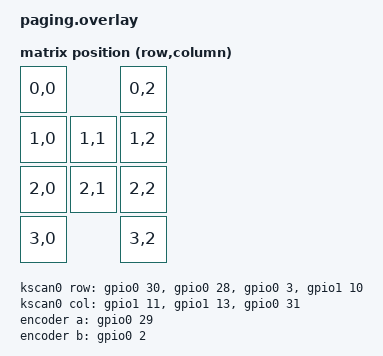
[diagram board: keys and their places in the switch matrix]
#include <dt-bindings/zmk/matrix_transform.h>
#include <dt-bindings/led/led.h>
#include "paging-layouts.dtsi"
#include "paging.dtsi"



&physical_layout0 {
    transform = <&default_transform>;
};

/ {
    chosen {
        zmk,kscan = &kscan0;
        zmk,physical-layout = &physical_layout0;
		zmk,underglow = &led_strip;
        //zmk,backlight = &backlight;
        zephyr,display = &oled;
        zmk,battery = &vbatt;
    };

    vbatt: vbatt {
        compatible = "zmk,battery-voltage-divider";
        label = "VBATT";
        io-channels = <&adc 2>; // 根据实际ADC通道调整
        output-ohms = <2000000>;
        full-ohms = <(2000000 + 806000)>;
    };

    kscan0: kscan {
        compatible = "zmk,kscan-gpio-matrix";
        wakeup-source;

        diode-direction = "col2row";
        row-gpios
            = <&gpio0 30 (GPIO_ACTIVE_HIGH | GPIO_PULL_DOWN)>,
              <&gpio0 28 (GPIO_ACTIVE_HIGH | GPIO_PULL_DOWN)>,
              <&gpio0 3  (GPIO_ACTIVE_HIGH | GPIO_PULL_DOWN)>,
              <&gpio1 10 (GPIO_ACTIVE_HIGH | GPIO_PULL_DOWN)>;
        col-gpios
            = <&gpio1 11 GPIO_ACTIVE_HIGH>,
              <&gpio1 13 GPIO_ACTIVE_HIGH>,
              <&gpio0 31 GPIO_ACTIVE_HIGH>;
    };

    default_transform: matrix_transform {
        compatible = "zmk,matrix-transform";
        rows = <4>;
        columns = <3>;
        map = <
	        RC(0,0)         RC(0,2) 
	        RC(1,0) RC(1,1) RC(1,2) 
	        RC(2,0) RC(2,1) RC(2,2)  
			RC(3,0)         RC(3,2)  
        >;
    };

    encoder: encoder {
        compatible = "alps,ec11";
        a-gpios = <&gpio0 29 (GPIO_ACTIVE_HIGH | GPIO_PULL_UP)>;
        b-gpios = <&gpio0 2  (GPIO_ACTIVE_HIGH | GPIO_PULL_UP)>;
        resolution = <4>; 
        steps = <20>;
        status = "okay";
    };

    sensors: sensors {
        compatible = "zmk,keymap-sensors";
        sensors = <&encoder>;
        triggers-per-rotation = <10>;
    };

    //backlight: pwmleds {
    //    compatible = "pwm-leds";
    //    pwm_led_0 {
    //        pwms = <&pwm0 0 PWM_MSEC(10) PWM_POLARITY_NORMAL>;
    //    };
    //};
};
